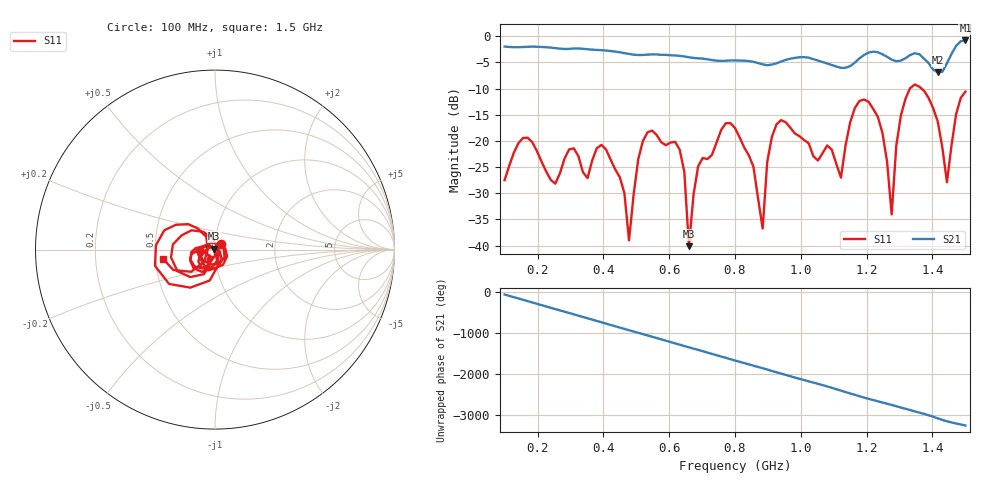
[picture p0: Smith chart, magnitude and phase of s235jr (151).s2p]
! NanoVNA-App
! Date: 2025-09-25 15:05:20
! Start: 100MHz Stop: 1,5GHz Points: 101
! S-Parameter data: F S11 S21 S12 S22
# Hz S RI R 50
!  Frequency  S11_Real  S11_Imag  S21_Real  S21_Imag  S12_Real  S12_Imag  S22_Real  S22_Imag
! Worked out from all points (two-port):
!   101 points, 100 MHz to 1.5 GHz, reference 50 ohm
!   highest |S21| = -0.79 dB at 1.5 GHz (marker M1); lowest = -6.9 dB at 1.416 GHz (marker M2)
!   |S21| within 3 dB of the highest: start of sweep to 639 MHz; 1.187 GHz to 1.258 GHz (71.19 MHz wide, 5.82 % of centre)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
!   lowest |S11| = -40.1 dB at 660 MHz (marker M3), VSWR 1.02, Z = 49.2 + j0.585 ohm
!   |S11| at or under -10 dB: start of sweep to 1.331 GHz; 1.367 GHz to end of sweep
!   S12 and S22 are empty: the file has one direction only
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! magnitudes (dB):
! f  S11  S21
! 100 MHz  -27.5  -2.0
! 156 MHz  -19.4  -2.0
! 338 MHz  -26.0  -2.4
! 408 MHz  -21.6  -2.7
! 478 MHz  -39.0  -3.4
! 520 MHz  -20.0  -3.6
! 576 MHz  -20.3  -3.5
! 632 MHz  -21.7  -3.7
! 660 MHz  -40.1  -4.0
! 688 MHz  -24.8  -4.2
! 800 MHz  -17.5  -4.6
! 884 MHz  -36.7  -5.4
! 926 MHz  -16.8  -5.2
! 1.038 GHz  -22.9  -4.4
! 1.122 GHz  -27.0  -6.0
! 1.206 GHz  -12.5  -3.1
! 1.276 GHz  -34.0  -4.5
! 1.29 GHz  -20.9  -4.8
! 1.332 GHz  -9.9  -3.6
! 1.416 GHz  -16.3  -6.9
! 1.444 GHz  -27.9  -5.2
! 1.5 GHz  -10.6  -0.8
